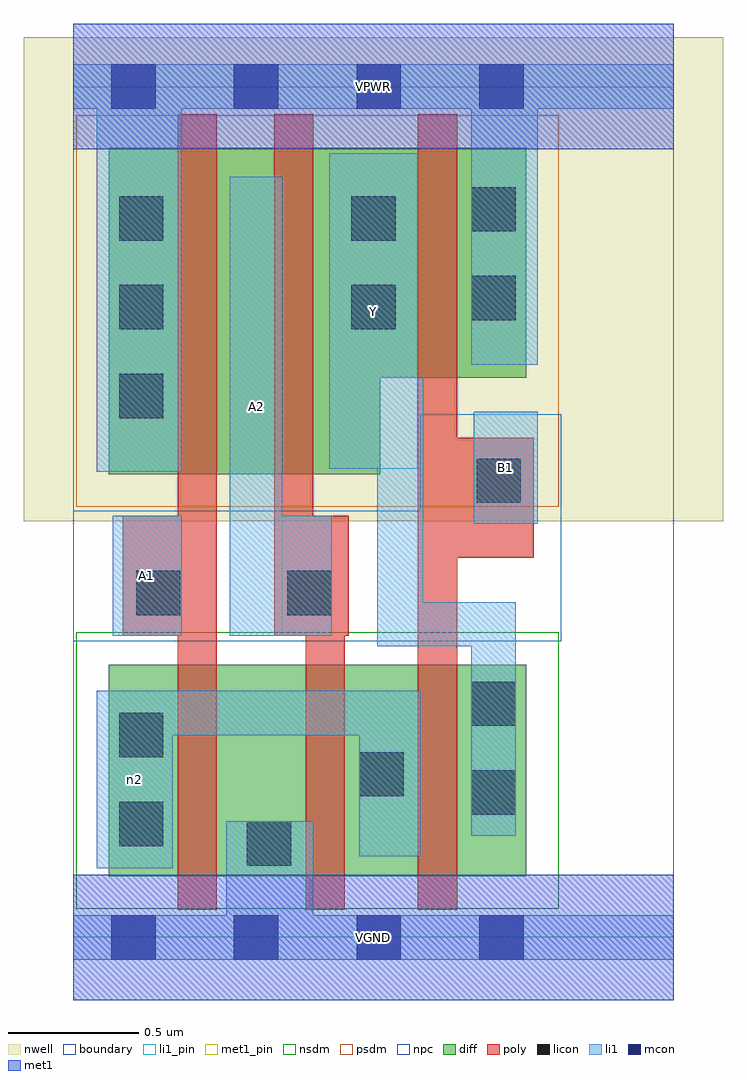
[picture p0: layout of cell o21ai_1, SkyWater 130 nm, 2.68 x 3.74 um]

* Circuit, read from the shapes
.subckt o21ai_1 A1 A2 B1 VGND VPWR Y n2
XM1 VGND A1 n2 VSUBS sky130_fd_pr__nfet_01v8 w=0.81 l=0.15
XM2 n2 A2 VGND VSUBS sky130_fd_pr__nfet_01v8 w=0.81 l=0.15
XM3 Y B1 n2 VSUBS sky130_fd_pr__nfet_01v8 w=0.81 l=0.15
XM4 n1 A1 VPWR n3 sky130_fd_pr__pfet_01v8 w=1.25 l=0.15
XM5 Y A2 n1 n3 sky130_fd_pr__pfet_01v8 w=1.25 l=0.15
XM6 VPWR B1 Y n3 sky130_fd_pr__pfet_01v8 w=0.88 l=0.15
.ends

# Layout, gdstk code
import gdstk
lib = gdstk.Library(unit=1e-6, precision=1e-09)
def R(c, l, rs):  # rectangles x0, y0, x1, y1
    for r in rs: c.add(gdstk.rectangle(r[:2], r[2:], *l))
def A(c, l, x, y, w, h, nx, ny, dx, dy):  # array of equal rectangles
    R(c, l, [(x+i*dx, y+j*dy, x+i*dx+w, y+j*dy+h) for i in range(nx) for j in range(ny)])
nwell = (64, 20)
diff = (65, 20)
poly = (66, 20)
licon = (66, 44)
li1_pin = (67, 16)
li1 = (67, 20)
mcon = (67, 44)
met1_pin = (68, 16)
met1 = (68, 20)
nsdm = (93, 44)
psdm = (94, 20)
npc = (95, 20)
boundary = (235, 4)

o21ai_1 = lib.new_cell('o21ai_1')
R(o21ai_1, nwell, [(-0.19,1.595,2.49,3.45), (0,1.595,2.3,3.45)])
R(o21ai_1, diff, [(0.135,0.235,1.735,1.045), (0.135,1.775,1.175,3.025), (0.135,2.145,1.735,3.025)])
R(o21ai_1, poly, [(0.4,0.105,0.55,3.155), (0.89,0.105,1.04,1.615), (1.32,0.105,1.47,3.155), (0.19,1.155,0.55,1.615), (0.77,1.155,0.92,3.155), (0.77,1.155,1.055,1.615), (1.32,1.455,1.765,1.915)])
A(o21ai_1, licon, 0.175, 1.99, 0.17, 0.17, 1, 3, 0, 0.34)
R(o21ai_1, licon, [(0.665,0.275,0.835,0.445), (0.175,0.35,0.345,0.52), (1.525,0.47,1.695,0.64), (1.095,0.54,1.265,0.71), (0.175,0.69,0.345,0.86), (1.525,0.81,1.695,0.98), (0.24,1.235,0.41,1.405), (0.82,1.235,0.99,1.405), (1.545,1.665,1.715,1.835), (1.065,2.33,1.235,2.5), (1.525,2.365,1.695,2.535), (1.065,2.67,1.235,2.84), (1.525,2.705,1.695,2.875)])
R(o21ai_1, li1_pin, [(0.15,1.155,0.415,1.615), (0.6,1.155,0.8,2.915), (1.535,1.585,1.78,2.015), (0.98,1.795,1.32,3.005)])
R(o21ai_1, li1, [(0,-0.085,2.3,0.085), (0.585,-0.085,0.92,0.445), (0.09,0.265,0.38,0.945), (1.095,0.31,1.33,0.945), (1.525,0.39,1.695,1.285), (0.09,0.775,1.33,0.945), (1.165,1.115,1.34,2.145), (1.165,1.115,1.695,1.285), (0.15,1.155,0.415,1.615), (0.6,1.155,0.8,2.915), (0.6,1.155,0.99,1.615), (1.535,1.585,1.78,2.015), (0.09,1.785,0.415,3.345), (0.98,1.795,1.32,3.005), (1.525,2.195,1.78,3.345), (0,3.175,2.3,3.345)])
A(o21ai_1, mcon, 0.145, -0.085, 0.17, 0.17, 4, 2, 0.47, 3.26)
R(o21ai_1, met1_pin, [(0,-0.24,2.3,0.24), (0,3.02,2.3,3.5)])
R(o21ai_1, met1, [(0,-0.24,2.3,0.24), (0,3.02,2.3,3.5)])
R(o21ai_1, nsdm, [(0.01,0.11,1.86,1.17)])
R(o21ai_1, psdm, [(0.01,1.65,1.86,3.15)])
R(o21ai_1, npc, [(0,1.135,1.87,1.635), (1.33,1.135,1.87,2.005)])
R(o21ai_1, boundary, [(0,0,2.3,3.26)])
o21ai_1.add(gdstk.Label('A1', (0.282,1.385), layer=67, texttype=5))
o21ai_1.add(gdstk.Label('A2', (0.7,2.035), layer=67, texttype=5))
o21ai_1.add(gdstk.Label('B1', (1.657,1.8), layer=67, texttype=5))
o21ai_1.add(gdstk.Label('Y', (1.15,2.4), layer=67, texttype=5))
o21ai_1.add(gdstk.Label('n2', (0.235,0.605), layer=67, texttype=5))
o21ai_1.add(gdstk.Label('VPWR', (1.15,3.26), layer=68, texttype=5))
o21ai_1.add(gdstk.Label('VGND', (1.15,0), layer=68, texttype=5))
o21ai_1.add(gdstk.Label('A1', (0.282,1.385), layer=67, texttype=16))
o21ai_1.add(gdstk.Label('A2', (0.7,2.035), layer=67, texttype=16))
o21ai_1.add(gdstk.Label('B1', (1.657,1.8), layer=67, texttype=16))
o21ai_1.add(gdstk.Label('Y', (1.15,2.4), layer=67, texttype=16))
o21ai_1.add(gdstk.Label('VPWR', (1.15,3.26), layer=68, texttype=16))
o21ai_1.add(gdstk.Label('VGND', (1.15,0), layer=68, texttype=16))

lib.write_gds('o21ai_1.gds')
